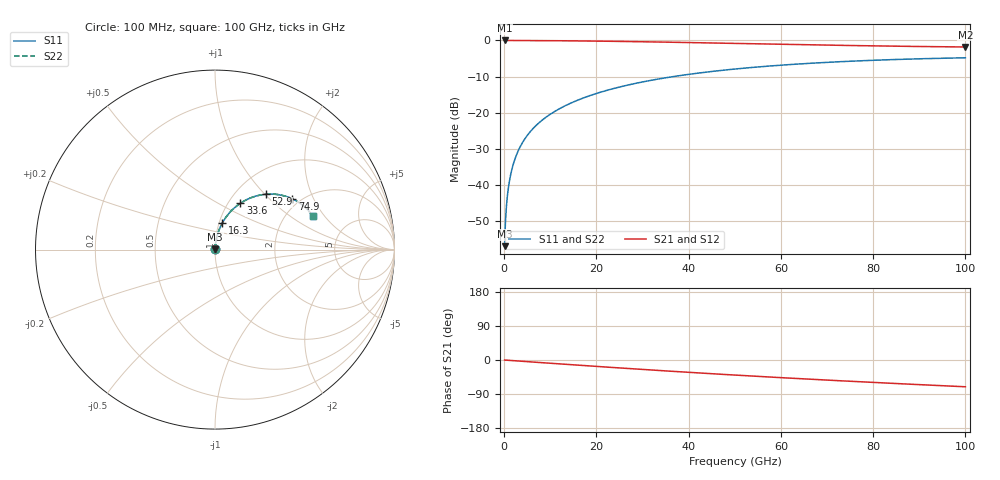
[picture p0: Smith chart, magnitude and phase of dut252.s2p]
! Touchstone file exported from HFSS 2026.1.0
!  File:  C:/ffzhzh/LocalFiles/Ansys_Project_Files/temp_train_RDL_252_1783501540_41296.aedt
!  Generated:  05:06:49 PM Jul  8, 2026
!  Design:  RDL
!  Project:  temp_train_RDL_252_1783501540_41296
! Variables:
!  h_bsmrdl = 2um
!  h_ox = 20um
!  h_rdl = 5um
!  h_sub = 80um
!  h_tmrdl = 3.52um
!  h_tsv = 80um
!  h_via = 3um
!  l_bsmrdl = 300um
!  l_sub = 586.84um
!  l_tmrdl = 186.84um
!  m_sub = 200um
!  pitch = 59.85um
!  r_tsv = 6um
!  s_tmrdl = 10um
!  w_bsmrdl = 18um
!  w_sub = 500um
!  w_tmrdl = 25.41um
!  x_tsv_center1 = 199.545um
!  x_tsv_center2 = 517.545um
!  x_tsv_center3 = 729.795um
!  x_tsv_center4 = 1047.795um
!  x_tsv_center5 = 1260.045um
!  x_tsv_center6 = 1578.045um
# GHz S MA R 50.000000
! Terminal data exported
! Port[1] = TM_RDL1_1_T1
! Port[2] = TM_RDL1_1_T2
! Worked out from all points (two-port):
!   1000 points, 100 MHz to 100 GHz, reference 50 ohm
!   highest |S21| = -0.01 dB at 100 MHz (marker M1); lowest = -1.8 dB at 100 GHz (marker M2)
!   |S21| within 3 dB of the highest: start of sweep to end of sweep
!   lowest |S11| = -56.9 dB at 100 MHz (marker M3), VSWR 1.00, Z = 50.1 + j0.105 ohm
!   |S11| at or under -10 dB: start of sweep to 36.64 GHz
!   |S22| runs from -56.9 to -4.8 dB; largest |S21 - S12| = 5.3e-15
!   S11 on the Smith chart (normalised r, x): 100 MHz: 1.00, +0.00; 16.3 GHz: 1.04, +0.31; 33.6 GHz: 1.14, +0.64; 52.9 GHz: 1.35, +1.01; 74.9 GHz: 1.82, +1.40; 100 GHz: 2.76, +1.54
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0.1  0.001431 47.2  0.999 -0.1  0.999 -0.1  0.001431 47.2
! Gamma 0 0 0 0
! Port Impedance 50 0 50 0
0.4  0.004198 74.3  0.9989 -0.4  0.9989 -0.4  0.004198 74.3
0.8  0.008012 80.7  0.9988 -0.7  0.9988 -0.7  0.008012 80.7
1.1  0.0109 82.5  0.9987 -1.0  0.9987 -1.0  0.0109 82.5
1.4  0.0138 83.5  0.9986 -1.2  0.9986 -1.2  0.0138 83.5
1.9  0.01865 84.3  0.9985 -1.7  0.9985 -1.7  0.01865 84.3
2.4  0.02349 84.5  0.9983 -2.1  0.9983 -2.1  0.02349 84.5
3.8  0.03701 84.2  0.9977 -3.3  0.9977 -3.3  0.03701 84.2
5.9  0.05706 82.8  0.9963 -5.1  0.9963 -5.1  0.05706 82.8
8.6  0.08244 80.8  0.994 -7.4  0.994 -7.4  0.08244 80.8
12  0.1138 78.1  0.9903 -10.3  0.9903 -10.3  0.1138 78.1
16.3  0.1525 74.7  0.9846 -13.8  0.9846 -13.8  0.1525 74.7
16.8  0.1569 74.4  0.9838 -14.3  0.9838 -14.3  0.1569 74.4
24.2  0.2202 68.5  0.9709 -20.3  0.9709 -20.3  0.2202 68.5
33.4  0.2926 61.5  0.9511 -27.5  0.9511 -27.5  0.2926 61.5
33.6  0.2941 61.3  0.9506 -27.7  0.9506 -27.7  0.2941 61.3
50.1  0.4028 49.4  0.9095 -39.8  0.9095 -39.8  0.4028 49.4
52.9  0.4185 47.4  0.9024 -41.8  0.9024 -41.8  0.4185 47.5
66.7  0.4845 38.4  0.8687 -50.9  0.8687 -50.9  0.4845 38.4
74.9  0.5153 33.3  0.8509 -56.1  0.8509 -56.1  0.5153 33.3
83.4  0.5411 28.3  0.8348 -61.2  0.8348 -61.2  0.5411 28.3
100  0.5753 18.9  0.8115 -70.7  0.8115 -70.7  0.5752 18.9
